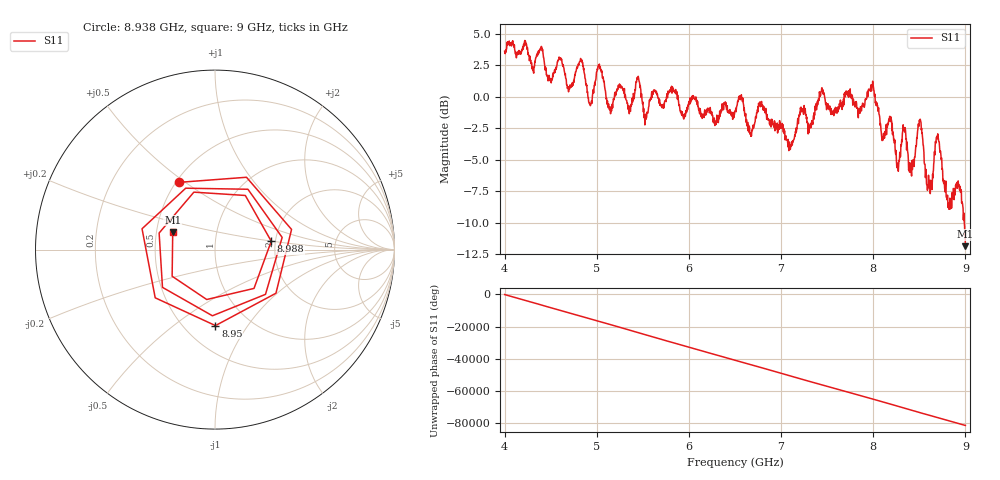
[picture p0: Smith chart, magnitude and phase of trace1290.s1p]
! Created with skrf 1.8.0 (http://scikit-rf.org).
# Hz S RI R 50.0
!freq ReS11 ImS11
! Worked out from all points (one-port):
!   1601 points, 4 GHz to 9 GHz, reference 50 ohm
!   lowest |S11| = -11.9 dB at 9 GHz (marker M1), VSWR 1.69, Z = 30.4 + j6.42 ohm
!   |S11| at or under -10 dB: 8.988179 GHz to end of sweep
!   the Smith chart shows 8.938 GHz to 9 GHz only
!   S11 on the Smith chart (normalised r, x): 8.938 GHz: 0.52, +0.47; 8.95 GHz: 0.70, -0.72; 8.988 GHz: 1.90, +0.20; 9 GHz: 0.61, +0.13
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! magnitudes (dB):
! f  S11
! 4 GHz  3.6
! 4.625 GHz  2.6
! 4.7 GHz  0.8
! 4.834 GHz  2.8
! 4.928 GHz  -0.7
! 5.022 GHz  2.5
! 5.138 GHz  -1.0
! 5.25 GHz  0.8
! 5.356 GHz  -1.0
! 5.45 GHz  1.6
! 5.531 GHz  -1.4
! 5.875 GHz  -0.2
! 6.5 GHz  -1.2
! 7.125 GHz  -3.5
! 7.441 GHz  0.7
! 7.75 GHz  0.6
! 7.984 GHz  0.7
! 8.103 GHz  -3.2
! 8.375 GHz  -4.5
! 8.425 GHz  -5.8
! 8.506 GHz  -1.9
! 8.603 GHz  -6.8
! 8.697 GHz  -3.3
! 8.816 GHz  -8.5
! 8.938 GHz  -7.4
! 8.95 GHz  -7.5
! 8.988 GHz  -10.0
! 9 GHz  -11.9
